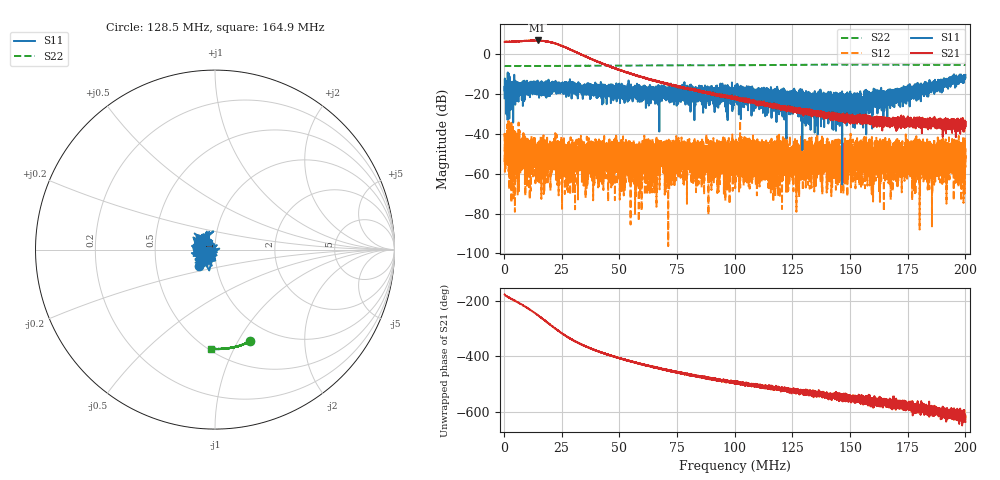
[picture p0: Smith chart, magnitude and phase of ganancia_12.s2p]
# Hz S DB R 50
! CMT, M5065, 19127446, 24.2.4/2
! Date: 11/8/2024 3:52:16 PM
! Data: Format (Calibration Info)
! Freq	S11:dB/Ang(F2)	S21:dB/Ang(F2)	S12:dB/Ang(F2)	S22:dB/Ang(F2)
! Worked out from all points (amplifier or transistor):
!   9000 points, 300 kHz to 200 MHz, reference 50 ohm
!   highest |S21| = 7.0 dB at 14.57 MHz (marker M1)
!   |S21| within 3 dB of that: start of sweep to 25.65 MHz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
!   unconditionally stable (mu >= 1): start of sweep to end of sweep
!   at 33.59 MHz: K = 61.73, MAG = 1.3 dB, |S12| = -44.5 dB
!   at 100.2 MHz: K = 1171.22, MAG = -20.2 dB, |S12| = -48.7 dB
!   at 200 MHz: K = 4937.29, MAG = -34.0 dB, |S12| = -47.9 dB
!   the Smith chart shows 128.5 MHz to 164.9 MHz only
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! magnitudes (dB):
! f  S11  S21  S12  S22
! 300 kHz  -22.1  6.3  -54.0  -5.8
! 1.476 MHz  -20.4  6.3  -41.2  -5.8
! 10.22 MHz  -18.5  6.8  -49.8  -5.8
! 14.57 MHz  -14.9  7.0  -48.5  -5.8
! 33.59 MHz  -17.9  -0.1  -44.5  -5.7
! 35.5 MHz  -20.1  -1.2  -64.1  -5.7
! 37.27 MHz  -16.2  -2.0  -45.0  -5.7
! 39.84 MHz  -19.4  -3.3  -55.8  -5.7
! 66.87 MHz  -19.4  -13.6  -48.5  -5.5
! 68.69 MHz  -21.3  -14.1  -49.7  -5.5
! 100.2 MHz  -21.9  -21.7  -48.7  -5.4
! 111.1 MHz  -19.8  -24.6  -54.4  -5.4
! 113.1 MHz  -22.4  -25.4  -58.4  -5.4
! 121.9 MHz  -20.5  -26.7  -43.2  -5.3
! 124.1 MHz  -19.8  -27.7  -52.5  -5.3
! 133.4 MHz  -27.9  -29.5  -60.9  -5.2
! 155.2 MHz  -21.5  -32.3  -50.3  -5.1
! 157.4 MHz  -20.8  -32.8  -50.8  -5.1
! 166.7 MHz  -24.1  -33.6  -50.7  -5.2
! 180.8 MHz  -20.3  -32.5  -46.7  -5.3
! 182.8 MHz  -15.4  -33.8  -47.2  -5.3
! 200 MHz  -10.3  -35.9  -47.9  -5.3
